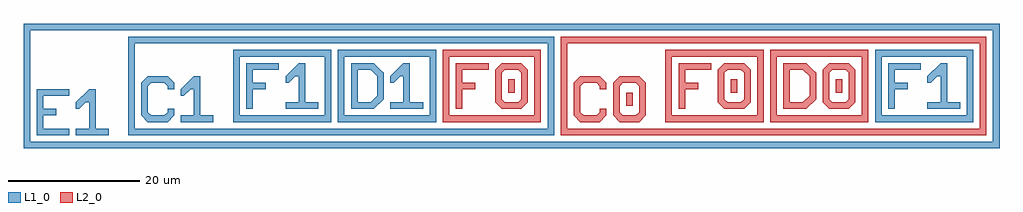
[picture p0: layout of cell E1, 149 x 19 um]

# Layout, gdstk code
import gdstk
lib = gdstk.Library(unit=1e-6, precision=5e-09)
def R(c, l, rs):  # rectangles x0, y0, x1, y1
    for r in rs: c.add(gdstk.rectangle(r[:2], r[2:], *l))
def P(c, l, *ps):  # polygons
    for p in ps: c.add(gdstk.Polygon(p, *l))
L1_0 = (1, 0)
L2_0 = (2, 0)

text_4_1 = lib.new_cell('TEXT$4$1')
P(text_4_1, L1_0, [(0,0),(0,7),(5,7),(5,6),(1,6),(1,4),(3,4),(3,3),(1,3),(1,1),(5,1),(5,0)],
  [(6,0),(6,1),(8,1),(8,5),(7.5,5),(6.5,4),(6,4),(6,5),(8,7),(9,7),(9,1),(11,1),(11,0)])

text_7 = lib.new_cell('TEXT$7')
P(text_7, L1_0, [(1,0),(0,1),(0,6),(1,7),(4,7),(5,6),(5,5),(4,5),(4,5.5),(3.5,6),(1.5,6),(1,5.5),(1,1.5),(1.5,1),(3.5,1),(4,1.5),(4,2),(5,2),(5,1),(4,0)],
  [(6,0),(6,1),(8,1),(8,5),(7.5,5),(6.5,4),(6,4),(6,5),(8,7),(9,7),(9,1),(11,1),(11,0)])

text_8 = lib.new_cell('TEXT$8')
P(text_8, L1_0, [(0,0),(0,7),(5,7),(5,6),(1,6),(1,4),(3,4),(3,3),(1,3),(1,0)],
  [(6,0),(6,1),(8,1),(8,5),(7.5,5),(6.5,4),(6,4),(6,5),(8,7),(9,7),(9,1),(11,1),(11,0)])

c_f1 = lib.new_cell('F1')
c_f1.add(gdstk.FlexPath([(0.5,0.5),(0.5,10.5),(14.5,10.5),(14.5,0.5),(0.5,0.5)], 1, ends="extended", simple_path=True, layer=1, datatype=0))  # L1_0
c_f1.add(gdstk.Reference(text_8, (2,2)))

text_9 = lib.new_cell('TEXT$9')
P(text_9, L1_0, [(0,0),(0,7),(3.5,7),(4.5,6),(1,6),(1,1),(3,1),(4,2),(4,5),(3,6),(4.5,6),(5,5.5),(5,1.5),(3.5,0)],
  [(6,0),(6,1),(8,1),(8,5),(7.5,5),(6.5,4),(6,4),(6,5),(8,7),(9,7),(9,1),(11,1),(11,0)])

text_10 = lib.new_cell('TEXT$10')
P(text_10, L1_0, [(0,0),(0,7),(3.5,7),(4.5,6),(1,6),(1,1),(3,1),(4,2),(4,5),(3,6),(4.5,6),(5,5.5),(5,1.5),(3.5,0)],
  [(6,0),(6,1),(8,1),(8,5),(7.5,5),(6.5,4),(6,4),(6,5),(8,7),(9,7),(9,1),(11,1),(11,0)])

text_11 = lib.new_cell('TEXT$11')
P(text_11, L1_0, [(0,0),(0,7),(3.5,7),(4.5,6),(1,6),(1,1),(3,1),(4,2),(4,5),(3,6),(4.5,6),(5,5.5),(5,1.5),(3.5,0)],
  [(6,0),(6,1),(8,1),(8,5),(7.5,5),(6.5,4),(6,4),(6,5),(8,7),(9,7),(9,1),(11,1),(11,0)])

text_12 = lib.new_cell('TEXT$12')
P(text_12, L1_0, [(0,0),(0,7),(3.5,7),(4.5,6),(1,6),(1,1),(3,1),(4,2),(4,5),(3,6),(4.5,6),(5,5.5),(5,1.5),(3.5,0)],
  [(6,0),(6,1),(8,1),(8,5),(7.5,5),(6.5,4),(6,4),(6,5),(8,7),(9,7),(9,1),(11,1),(11,0)])

d1_2 = lib.new_cell('D1$2')
d1_2.add(gdstk.FlexPath([(0.5,0.5),(0.5,10.5),(14.5,10.5),(14.5,0.5),(0.5,0.5)], 1, ends="extended", simple_path=True, layer=1, datatype=0))  # L1_0
d1_2.add(gdstk.FlexPath([(0.5,0.5),(0.5,10.5),(14.5,10.5),(14.5,0.5),(0.5,0.5)], 1, ends="extended", simple_path=True, layer=1, datatype=0))  # L1_0
d1_2.add(gdstk.FlexPath([(0.5,0.5),(0.5,10.5),(14.5,10.5),(14.5,0.5),(0.5,0.5)], 1, ends="extended", simple_path=True, layer=1, datatype=0))  # L1_0
d1_2.add(gdstk.FlexPath([(0.5,0.5),(0.5,10.5),(14.5,10.5),(14.5,0.5),(0.5,0.5)], 1, ends="extended", simple_path=True, layer=1, datatype=0))  # L1_0
d1_2.add(gdstk.FlexPath([(0.5,0.5),(0.5,10.5),(14.5,10.5),(14.5,0.5),(0.5,0.5)], 1, ends="extended", simple_path=True, layer=1, datatype=0))  # L1_0
d1_2.add(gdstk.FlexPath([(0.5,0.5),(0.5,10.5),(14.5,10.5),(14.5,0.5),(0.5,0.5)], 1, ends="extended", simple_path=True, layer=1, datatype=0))  # L1_0
d1_2.add(gdstk.FlexPath([(0.5,0.5),(0.5,10.5),(14.5,10.5),(14.5,0.5),(0.5,0.5)], 1, ends="extended", simple_path=True, layer=1, datatype=0))  # L1_0
d1_2.add(gdstk.FlexPath([(0.5,0.5),(0.5,10.5),(14.5,10.5),(14.5,0.5),(0.5,0.5)], 1, ends="extended", simple_path=True, layer=1, datatype=0))  # L1_0
d1_2.add(gdstk.Reference(text_9, (2,2)))
d1_2.add(gdstk.Reference(text_10, (2,2)))
d1_2.add(gdstk.Reference(text_11, (2,2)))
d1_2.add(gdstk.Reference(text_12, (2,2)))

text_13 = lib.new_cell('TEXT$13')
R(text_13, L2_0, [(8,2.5,9,4.5)])
P(text_13, L2_0, [(0,0),(0,7),(5,7),(5,6),(1,6),(1,4),(3,4),(3,3),(1,3),(1,0)],
  [(7,0),(6,1),(6,6),(7,7),(10,7),(11,6),(7.5,6),(7,5.5),(7,1.5),(7.5,1),(9.5,1),(10,1.5),(10,5.5),(9.5,6),(11,6),(11,1),(10,0)])

c_f0 = lib.new_cell('F0')
c_f0.add(gdstk.FlexPath([(0.5,0.5),(0.5,10.5),(14.5,10.5),(14.5,0.5),(0.5,0.5)], 1, ends="extended", simple_path=True, layer=2, datatype=0))  # L2_0
c_f0.add(gdstk.Reference(text_13, (2,2)))

c1_1 = lib.new_cell('C1$1')
c1_1.add(gdstk.FlexPath([(0.5,0.5),(0.5,14.5),(64.5,14.5),(64.5,0.5),(0.5,0.5)], 1, ends="extended", simple_path=True, layer=1, datatype=0))  # L1_0
c1_1.add(gdstk.Reference(text_7, (2,2)))
c1_1.add(gdstk.Reference(c_f1, (16,2)))
c1_1.add(gdstk.Reference(d1_2, (32,2)))
c1_1.add(gdstk.Reference(c_f0, (48,2)))

text_14 = lib.new_cell('TEXT$14')
R(text_14, L2_0, [(8,2.5,9,4.5)])
P(text_14, L2_0, [(1,0),(0,1),(0,6),(1,7),(4,7),(5,6),(5,5),(4,5),(4,5.5),(3.5,6),(1.5,6),(1,5.5),(1,1.5),(1.5,1),(3.5,1),(4,1.5),(4,2),(5,2),(5,1),(4,0)],
  [(7,0),(6,1),(6,6),(7,7),(10,7),(11,6),(7.5,6),(7,5.5),(7,1.5),(7.5,1),(9.5,1),(10,1.5),(10,5.5),(9.5,6),(11,6),(11,1),(10,0)])

text_15 = lib.new_cell('TEXT$15')
R(text_15, L2_0, [(8,2.5,9,4.5)])
P(text_15, L2_0, [(0,0),(0,7),(5,7),(5,6),(1,6),(1,4),(3,4),(3,3),(1,3),(1,0)],
  [(7,0),(6,1),(6,6),(7,7),(10,7),(11,6),(7.5,6),(7,5.5),(7,1.5),(7.5,1),(9.5,1),(10,1.5),(10,5.5),(9.5,6),(11,6),(11,1),(10,0)])

f0_1 = lib.new_cell('F0$1')
f0_1.add(gdstk.FlexPath([(0.5,0.5),(0.5,10.5),(14.5,10.5),(14.5,0.5),(0.5,0.5)], 1, ends="extended", simple_path=True, layer=2, datatype=0))  # L2_0
f0_1.add(gdstk.Reference(text_15, (2,2)))

text_16 = lib.new_cell('TEXT$16')
R(text_16, L2_0, [(8,2.5,9,4.5)])
P(text_16, L2_0, [(0,0),(0,7),(3.5,7),(4.5,6),(1,6),(1,1),(3,1),(4,2),(4,5),(3,6),(4.5,6),(5,5.5),(5,1.5),(3.5,0)],
  [(7,0),(6,1),(6,6),(7,7),(10,7),(11,6),(7.5,6),(7,5.5),(7,1.5),(7.5,1),(9.5,1),(10,1.5),(10,5.5),(9.5,6),(11,6),(11,1),(10,0)])

c_d0 = lib.new_cell('D0')
c_d0.add(gdstk.FlexPath([(0.5,0.5),(0.5,10.5),(14.5,10.5),(14.5,0.5),(0.5,0.5)], 1, ends="extended", simple_path=True, layer=2, datatype=0))  # L2_0
c_d0.add(gdstk.Reference(text_16, (2,2)))

text_17 = lib.new_cell('TEXT$17')
P(text_17, L1_0, [(0,0),(0,7),(5,7),(5,6),(1,6),(1,4),(3,4),(3,3),(1,3),(1,0)],
  [(6,0),(6,1),(8,1),(8,5),(7.5,5),(6.5,4),(6,4),(6,5),(8,7),(9,7),(9,1),(11,1),(11,0)])

f1_1 = lib.new_cell('F1$1')
f1_1.add(gdstk.FlexPath([(0.5,0.5),(0.5,10.5),(14.5,10.5),(14.5,0.5),(0.5,0.5)], 1, ends="extended", simple_path=True, layer=1, datatype=0))  # L1_0
f1_1.add(gdstk.Reference(text_17, (2,2)))

c_c0 = lib.new_cell('C0')
c_c0.add(gdstk.FlexPath([(0.5,0.5),(0.5,14.5),(64.5,14.5),(64.5,0.5),(0.5,0.5)], 1, ends="extended", simple_path=True, layer=2, datatype=0))  # L2_0
c_c0.add(gdstk.Reference(text_14, (2,2)))
c_c0.add(gdstk.Reference(f0_1, (16,2)))
c_c0.add(gdstk.Reference(c_d0, (32,2)))
c_c0.add(gdstk.Reference(f1_1, (48,2)))

c_e1 = lib.new_cell('E1')
c_e1.add(gdstk.FlexPath([(0.5,0.5),(0.5,18.5),(148.5,18.5),(148.5,0.5),(0.5,0.5)], 1, ends="extended", simple_path=True, layer=1, datatype=0))  # L1_0
c_e1.add(gdstk.Reference(text_4_1, (2,2)))
c_e1.add(gdstk.Reference(c1_1, (16,2)))
c_e1.add(gdstk.Reference(c_c0, (82,2)))

lib.write_gds('E1.gds')
